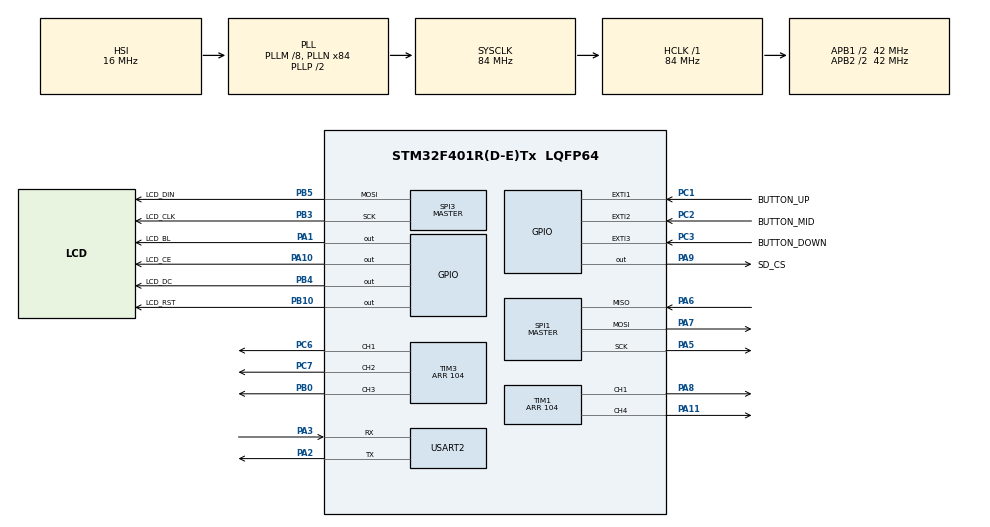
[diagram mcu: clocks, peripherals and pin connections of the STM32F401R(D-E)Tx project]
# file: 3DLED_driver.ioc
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Dma.Request0=TIM1_CH1
Dma.Request1=TIM3_CH1/TRIG
Dma.Request2=TIM1_CH4/TRIG/COM
Dma.Request3=TIM3_CH2
Dma.Request4=TIM3_CH3
Dma.TIM1_CH1.0.Direction=DMA_MEMORY_TO_PERIPH
Dma.TIM1_CH1.0.FIFOMode=DMA_FIFOMODE_DISABLE
Dma.TIM1_CH1.0.Instance=DMA2_Stream1
Dma.TIM1_CH1.0.MemDataAlignment=DMA_MDATAALIGN_HALFWORD
Dma.TIM1_CH1.0.MemInc=DMA_MINC_ENABLE
Dma.TIM1_CH1.0.Mode=DMA_CIRCULAR
Dma.TIM1_CH1.0.PeriphDataAlignment=DMA_PDATAALIGN_HALFWORD
Dma.TIM1_CH1.0.PeriphInc=DMA_PINC_DISABLE
Dma.TIM1_CH1.0.Priority=DMA_PRIORITY_LOW
Dma.TIM1_CH4/TRIG/COM.2.Direction=DMA_MEMORY_TO_PERIPH
Dma.TIM1_CH4/TRIG/COM.2.FIFOMode=DMA_FIFOMODE_DISABLE
Dma.TIM1_CH4/TRIG/COM.2.Instance=DMA2_Stream4
Dma.TIM1_CH4/TRIG/COM.2.MemDataAlignment=DMA_MDATAALIGN_HALFWORD
Dma.TIM1_CH4/TRIG/COM.2.MemInc=DMA_MINC_ENABLE
Dma.TIM1_CH4/TRIG/COM.2.Mode=DMA_CIRCULAR
Dma.TIM1_CH4/TRIG/COM.2.PeriphDataAlignment=DMA_PDATAALIGN_HALFWORD
Dma.TIM1_CH4/TRIG/COM.2.PeriphInc=DMA_PINC_DISABLE
Dma.TIM1_CH4/TRIG/COM.2.Priority=DMA_PRIORITY_LOW
Dma.TIM3_CH1/TRIG.1.Direction=DMA_MEMORY_TO_PERIPH
Dma.TIM3_CH1/TRIG.1.FIFOMode=DMA_FIFOMODE_DISABLE
Dma.TIM3_CH1/TRIG.1.Instance=DMA1_Stream4
Dma.TIM3_CH1/TRIG.1.MemDataAlignment=DMA_MDATAALIGN_HALFWORD
Dma.TIM3_CH1/TRIG.1.MemInc=DMA_MINC_ENABLE
Dma.TIM3_CH1/TRIG.1.Mode=DMA_CIRCULAR
Dma.TIM3_CH1/TRIG.1.PeriphDataAlignment=DMA_PDATAALIGN_HALFWORD
Dma.TIM3_CH1/TRIG.1.PeriphInc=DMA_PINC_DISABLE
Dma.TIM3_CH1/TRIG.1.Priority=DMA_PRIORITY_LOW
Dma.TIM3_CH2.3.Direction=DMA_MEMORY_TO_PERIPH
Dma.TIM3_CH2.3.FIFOMode=DMA_FIFOMODE_DISABLE
Dma.TIM3_CH2.3.Instance=DMA1_Stream5
Dma.TIM3_CH2.3.MemDataAlignment=DMA_MDATAALIGN_HALFWORD
Dma.TIM3_CH2.3.MemInc=DMA_MINC_ENABLE
Dma.TIM3_CH2.3.Mode=DMA_CIRCULAR
Dma.TIM3_CH2.3.PeriphDataAlignment=DMA_PDATAALIGN_HALFWORD
Dma.TIM3_CH2.3.PeriphInc=DMA_PINC_DISABLE
Dma.TIM3_CH2.3.Priority=DMA_PRIORITY_LOW
Dma.TIM3_CH3.4.Direction=DMA_MEMORY_TO_PERIPH
Dma.TIM3_CH3.4.FIFOMode=DMA_FIFOMODE_DISABLE
Dma.TIM3_CH3.4.Instance=DMA1_Stream7
Dma.TIM3_CH3.4.MemDataAlignment=DMA_MDATAALIGN_HALFWORD
Dma.TIM3_CH3.4.MemInc=DMA_MINC_ENABLE
Dma.TIM3_CH3.4.Mode=DMA_CIRCULAR
Dma.TIM3_CH3.4.PeriphDataAlignment=DMA_PDATAALIGN_HALFWORD
Dma.TIM3_CH3.4.PeriphInc=DMA_PINC_DISABLE
Dma.TIM3_CH3.4.Priority=DMA_PRIORITY_LOW
FATFS._USE_LFN=0
Mcu.Family=STM32F4
Mcu.Name=STM32F401R(D-E)Tx
Mcu.Package=LQFP64
NVIC.DMA1_Stream4_IRQn=true\:0\:0\:false\:false\:true\:false\:true\:true
NVIC.DMA1_Stream5_IRQn=true\:0\:0\:false\:false\:true\:false\:true\:true
NVIC.DMA1_Stream7_IRQn=true\:0\:0\:false\:false\:true\:false\:true\:true
NVIC.DMA2_Stream1_IRQn=true\:0\:0\:false\:false\:true\:false\:true\:true
NVIC.DMA2_Stream4_IRQn=true\:0\:0\:false\:false\:true\:false\:true\:true
NVIC.EXTI1_IRQn=true\:0\:0\:false\:false\:true\:true\:true\:true
NVIC.EXTI2_IRQn=true\:0\:0\:false\:false\:true\:true\:true\:true
NVIC.EXTI3_IRQn=true\:0\:0\:false\:false\:true\:true\:true\:true
NVIC.PriorityGroup=NVIC_PRIORITYGROUP_4
PA1.GPIO_Label=LCD_BL
PA1.Signal=GPIO_Output
PA10.GPIO_Label=LCD_CE
PA10.Signal=GPIO_Output
PA11.Signal=S_TIM1_CH4
PA13.Mode=Serial_Wire
PA13.Signal=SYS_JTMS-SWDIO
PA14.Mode=Serial_Wire
PA14.Signal=SYS_JTCK-SWCLK
PA2.Mode=Asynchronous
PA2.Signal=USART2_TX
PA3.Mode=Asynchronous
PA3.Signal=USART2_RX
PA5.Mode=Full_Duplex_Master
PA5.Signal=SPI1_SCK
PA6.Mode=Full_Duplex_Master
PA6.Signal=SPI1_MISO
PA7.Mode=Full_Duplex_Master
PA7.Signal=SPI1_MOSI
PA8.Signal=S_TIM1_CH1
PA9.GPIO_Label=SD_CS
PA9.Signal=GPIO_Output
PB0.Signal=S_TIM3_CH3
PB10.GPIO_Label=LCD_RST
PB10.Signal=GPIO_Output
PB3.GPIO_Label=LCD_CLK
PB3.Mode=TX_Only_Simplex_Unidirect_Master
PB3.Signal=SPI3_SCK
PB4.GPIO_Label=LCD_DC
PB4.Signal=GPIO_Output
PB5.GPIO_Label=LCD_DIN
PB5.Mode=TX_Only_Simplex_Unidirect_Master
PB5.Signal=SPI3_MOSI
PC1.GPIO_Label=BUTTON_UP
PC1.GPIO_PuPd=GPIO_PULLDOWN
PC1.Signal=GPXTI1
PC2.GPIO_Label=BUTTON_MID
PC2.GPIO_PuPd=GPIO_PULLDOWN
PC2.Signal=GPXTI2
PC3.GPIO_Label=BUTTON_DOWN
PC3.GPIO_PuPd=GPIO_PULLDOWN
PC3.Signal=GPXTI3
PC6.Signal=S_TIM3_CH1
PC7.Signal=S_TIM3_CH2
ProjectManager.HeapSize=0x200
ProjectManager.StackSize=0x400
ProjectManager.TargetToolchain=STM32CubeIDE
RCC.48MHZClocksFreq_Value=56000000
RCC.AHBFreq_Value=84000000
RCC.APB1CLKDivider=RCC_HCLK_DIV2
RCC.APB1Freq_Value=42000000
RCC.APB1TimFreq_Value=84000000
RCC.APB2CLKDivider=RCC_HCLK_DIV2
RCC.APB2Freq_Value=42000000
RCC.APB2TimFreq_Value=84000000
RCC.CortexFreq_Value=84000000
RCC.HCLKFreq_Value=84000000
RCC.HSE_VALUE=8000000
RCC.HSI_VALUE=16000000
RCC.LSE_VALUE=32768
RCC.PLLM=8
RCC.PLLN=84
RCC.PLLQ=3
RCC.SYSCLKFreq_VALUE=84000000
RCC.SYSCLKSource=RCC_SYSCLKSOURCE_PLLCLK
RCC.VCOOutputFreq_Value=168000000
SH.S_TIM1_CH1.0=TIM1_CH1,PWM Generation1 CH1
SH.S_TIM1_CH4.0=TIM1_CH4,PWM Generation4 CH4
SH.S_TIM3_CH1.0=TIM3_CH1,PWM Generation1 CH1
SH.S_TIM3_CH2.0=TIM3_CH2,PWM Generation2 CH2
SH.S_TIM3_CH3.0=TIM3_CH3,PWM Generation3 CH3
SPI1.BaudRatePrescaler=SPI_BAUDRATEPRESCALER_256
SPI1.Direction=SPI_DIRECTION_2LINES
SPI1.Mode=SPI_MODE_MASTER
SPI1.VirtualType=VM_MASTER
SPI3.BaudRatePrescaler=SPI_BAUDRATEPRESCALER_64
SPI3.Direction=SPI_DIRECTION_2LINES
SPI3.Mode=SPI_MODE_MASTER
SPI3.VirtualType=VM_MASTER
TIM1.Channel-PWM\ Generation1\ CH1=TIM_CHANNEL_1
TIM1.Channel-PWM\ Generation4\ CH4=TIM_CHANNEL_4
TIM1.Period=104
TIM3.Channel-PWM\ Generation1\ CH1=TIM_CHANNEL_1
TIM3.Channel-PWM\ Generation2\ CH2=TIM_CHANNEL_2
TIM3.Channel-PWM\ Generation3\ CH3=TIM_CHANNEL_3
TIM3.Period=104
USART2.VirtualMode=VM_ASYNC
VP_FATFS_VS_Generic.Mode=User_defined
VP_TIM1_VS_ClockSourceINT.Mode=Internal
VP_TIM3_VS_ClockSourceINT.Mode=Internal
board=custom

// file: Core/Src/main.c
/* USER CODE BEGIN Header */
/**
 ******************************************************************************
 * @file           : main.c
 * @brief          : Main program body
 ******************************************************************************
 * @attention
 *
 * <h2><center>&copy; Copyright (c) 2021 STMicroelectronics.
 * All rights reserved.</center></h2>
 *
 * This software component is licensed by ST under BSD 3-Clause license,
 * the "License"; You may not use this file except in compliance with the
 * License. You may obtain a copy of the License at:
 *                        opensource.org/licenses/BSD-3-Clause
 *
 ******************************************************************************
 */
/* USER CODE END Header */
#include "main.h"
#include "fatfs.h"

/* USER CODE BEGIN Includes */

#include <memory.h>
#include <string.h>
#include <stdarg.h> //for va_list var arg functions

#include "ws2812b.h"
//#include "walking.h"
#include "sd_card.h"
#include "tm_stm32f4_pcd8544.h"

/* USER CODE END Includes */

/* USER CODE BEGIN PTD */
enum BUTTONS {
    BUTTON_NULL, BUTTON_UP, BUTTON_MID, BUTTON_DOWN
};

/* USER CODE END PTD */

SPI_HandleTypeDef hspi1;
SPI_HandleTypeDef hspi3;

TIM_HandleTypeDef htim1;
TIM_HandleTypeDef htim3;
DMA_HandleTypeDef hdma_tim1_ch1;
DMA_HandleTypeDef hdma_tim1_ch4_trig_com;
DMA_HandleTypeDef hdma_tim3_ch1_trig;
DMA_HandleTypeDef hdma_tim3_ch2;
DMA_HandleTypeDef hdma_tim3_ch3;

UART_HandleTypeDef huart2;

void SystemClock_Config(void);
static void MX_GPIO_Init(void);
static void MX_DMA_Init(void);
static void MX_TIM1_Init(void);
static void MX_SPI1_Init(void);
static void MX_USART2_UART_Init(void);
static void MX_SPI3_Init(void);
static void MX_TIM3_Init(void);
/* USER CODE BEGIN PFP */
uint32_t hsl_to_rgb(uint8_t h, uint8_t s, uint8_t l);
void handleMenu(void);

/* USER CODE END PFP */

/* USER CODE BEGIN 0 */

volatile uint8_t button_event = 0;
char buffor_dirs[10][16] = { 0 };
uint8_t number_of_dirs = 0;
uint8_t selected = 0;
uint8_t playState = 0;

Layers Layer0;
Layers Layer1;
Layers Layer2;
Layers Layer3;
Layers Layer4;

/* USER CODE END 0 */

int main(void) {
    /* USER CODE BEGIN 1 */

    // Layers configuration
    Layer0.timer = &htim1;
    Layer0.dma = &hdma_tim1_ch1;
    Layer0.channel = TIM_CHANNEL_1;

    Layer1.timer = &htim1;
    Layer1.dma = &hdma_tim1_ch4_trig_com;
    Layer1.channel = TIM_CHANNEL_4;

    Layer2.timer = &htim3;
    Layer2.dma = &hdma_tim3_ch1_trig;
    Layer2.channel = TIM_CHANNEL_1;

    Layer3.timer = &htim3;
    Layer3.dma = &hdma_tim3_ch2;
    Layer3.channel = TIM_CHANNEL_2;

    Layer4.timer = &htim3;
    Layer4.dma = &hdma_tim3_ch3;
    Layer4.channel = TIM_CHANNEL_3;

    Layers *layers_array[5];
    layers_array[0] = &Layer0;
    layers_array[1] = &Layer1;
    layers_array[2] = &Layer2;
    layers_array[3] = &Layer3;
    layers_array[4] = &Layer4;

    /* USER CODE END 1 */

    /* MCU Configuration--------------------------------------------------------*/

    /* Reset of all peripherals, Initializes the Flash interface and the Systick. */
    HAL_Init();

    /* Configure the system clock */
    SystemClock_Config();

    /* Initialize all configured peripherals */
    MX_GPIO_Init();
    MX_DMA_Init();
    MX_TIM1_Init();
    MX_FATFS_Init();
    MX_SPI1_Init();
    MX_USART2_UART_Init();
    MX_SPI3_Init();
    MX_TIM3_Init();
    /* USER CODE BEGIN 2 */

    // GPIO configuration
    HAL_NVIC_EnableIRQ(EXTI1_IRQn);
    HAL_NVIC_EnableIRQ(EXTI2_IRQn);
    HAL_NVIC_EnableIRQ(EXTI3_IRQn);

    // LCD initialization
    PCD8544_Init(0x24);
    PCD8544_GotoXY(8, 21);
    PCD8544_Puts("3D_LED_CUBE", PCD8544_Pixel_Set, PCD8544_FontSize_5x7);
    PCD8544_Refresh();
    HAL_Delay(2000);

    // SD Card initialization
    uint8_t walk_array[32][256][3] = { 0 };
    ret_status result = STATUS_NULL;
    uint8_t number_of_images = 0;
    uint8_t speed_of_animation = 0;

    result = sd_card_init();
    if (STATUS_OK != result) {
        PCD8544_Clear();
        PCD8544_Puts("Problem with card initialization. Try re-attach SD card and press RESET", PCD8544_Pixel_Set, PCD8544_FontSize_5x7);
        PCD8544_Refresh();
        while (1)
            ;
    }

    char path[256];

    strcpy(path, "0:/");
    myprintf("Starting scan dir\n");
    result = sd_card_scan_file((char*) path, (char*) buffor_dirs,
            &number_of_dirs);
    if (STATUS_OK != result) {
        PCD8544_Clear();
        PCD8544_Puts("Problem with scanning card", PCD8544_Pixel_Set, PCD8544_FontSize_5x7);
        PCD8544_Refresh();
        sd_card_close();
        while (1)
            ;
    }

    while (1) {
        HAL_Delay(500);
        handleMenu();
        if (playState)
            break;
    }
    HAL_NVIC_DisableIRQ(EXTI1_IRQn);
    HAL_NVIC_DisableIRQ(EXTI2_IRQn);
    HAL_NVIC_DisableIRQ(EXTI3_IRQn);

    myprintf("Starting read data\n");
    struct layers_struct layers_config[5];
    result = sd_card_read_data((char*) buffor_dirs[selected],(uint8_t*) walk_array, layers_config, &number_of_images, &speed_of_animation);

    sd_card_close();

    if (STATUS_OK != result) {
        PCD8544_Clear();
        PCD8544_GotoXY(0, 0);
        PCD8544_Puts("Problem with reading data", PCD8544_Pixel_Set, PCD8544_FontSize_5x7);
        PCD8544_Refresh();
        while (1)
            ;
    }
    PCD8544_GotoXY(20, 38);
    PCD8544_Puts("Playing...", PCD8544_Pixel_Set, PCD8544_FontSize_5x7);
    PCD8544_Refresh();

    uint8_t odd = 1U;
    uint8_t index = 0U;
    uint8_t counter = 1U;
    uint8_t number_of_animation = 0U;

    /* USER CODE END 2 */

    /* Infinite loop */
    while (1) {

        /* USER CODE BEGIN 3 */
        for (uint8_t layer_index = 0U; layer_index < 5U; layer_index++) {
            for (uint8_t x = 0U; x < layers_config[layer_index].count; x++) {
                if (layers_config[layer_index].values[x] == number_of_animation)
                {
                    layers_config[layer_index].isSet = 1;
                    counter = 0U;
                    for (uint16_t i = 0U; i < NUM_PIXELS; i++) {
//                        if ( (i % 16U) == 0U ) {
//                            odd ^= 1U;
//                            counter++;
//                        }
//                        if (!odd) {
//                            index = (counter * 16 - 1) - (i % 16);
//                        } else {
//                            index = i;
//                        }
                        if ( (i % 16U) == 0U ) {
                            odd ^= 1U;
                            counter++;
                        }
                        if (!odd) {
                            index = 16*(16-(i%16)) - counter;
                        } else {
                            index = 256-(16*(16-((i+1)%16))+counter);
                        }
                        led_set_RGB(layers_array[layer_index], i,
                                walk_array[number_of_animation][index][0],
                                walk_array[number_of_animation][index][1],
                                walk_array[number_of_animation][index][2]);
                    }
                } else if (layers_config[layer_index].isSet == 0) {
                    led_set_all_RGB(layers_array[layer_index], 100, 0, 0);
                }
            }
            layers_config[layer_index].isSet = 0;
            led_render(layers_array[layer_index]);
            HAL_Delay(10);
        }
        if (++number_of_animation == number_of_images)
            number_of_animation = 0;

        HAL_Delay(speed_of_animation);
    }
    /* USER CODE END 3 */
}

void SystemClock_Config(void) {
    RCC_OscInitTypeDef RCC_OscInitStruct = { 0 };
    RCC_ClkInitTypeDef RCC_ClkInitStruct = { 0 };

    /** Configure the main internal regulator output voltage
     */
    __HAL_RCC_PWR_CLK_ENABLE();
    __HAL_PWR_VOLTAGESCALING_CONFIG(PWR_REGULATOR_VOLTAGE_SCALE2);

    /** Initializes the RCC Oscillators according to the specified parameters
     * in the RCC_OscInitTypeDef structure.
     */
    RCC_OscInitStruct.OscillatorType = RCC_OSCILLATORTYPE_HSI;
    RCC_OscInitStruct.HSIState = RCC_HSI_ON;
    RCC_OscInitStruct.HSICalibrationValue = RCC_HSICALIBRATION_DEFAULT;
    RCC_OscInitStruct.PLL.PLLState = RCC_PLL_ON;
    RCC_OscInitStruct.PLL.PLLSource = RCC_PLLSOURCE_HSI;
    RCC_OscInitStruct.PLL.PLLM = 8;
    RCC_OscInitStruct.PLL.PLLN = 84;
    RCC_OscInitStruct.PLL.PLLP = RCC_PLLP_DIV2;
    RCC_OscInitStruct.PLL.PLLQ = 3;
    if (HAL_RCC_OscConfig(&RCC_OscInitStruct) != HAL_OK) {
        Error_Handler();
    }

    /** Initializes the CPU, AHB and APB buses clocks
     */
    RCC_ClkInitStruct.ClockType = RCC_CLOCKTYPE_HCLK | RCC_CLOCKTYPE_SYSCLK
            | RCC_CLOCKTYPE_PCLK1 | RCC_CLOCKTYPE_PCLK2;
    RCC_ClkInitStruct.SYSCLKSource = RCC_SYSCLKSOURCE_PLLCLK;
    RCC_ClkInitStruct.AHBCLKDivider = RCC_SYSCLK_DIV1;
    RCC_ClkInitStruct.APB1CLKDivider = RCC_HCLK_DIV2;
    RCC_ClkInitStruct.APB2CLKDivider = RCC_HCLK_DIV2;

    if (HAL_RCC_ClockConfig(&RCC_ClkInitStruct, FLASH_LATENCY_2) != HAL_OK) {
        Error_Handler();
    }
}

static void MX_SPI1_Init(void) {

    /* SPI1 parameter configuration*/
    hspi1.Instance = SPI1;
    hspi1.Init.Mode = SPI_MODE_MASTER;
    hspi1.Init.Direction = SPI_DIRECTION_2LINES;
    hspi1.Init.DataSize = SPI_DATASIZE_8BIT;
    hspi1.Init.CLKPolarity = SPI_POLARITY_LOW;
    hspi1.Init.CLKPhase = SPI_PHASE_1EDGE;
    hspi1.Init.NSS = SPI_NSS_SOFT;
    hspi1.Init.BaudRatePrescaler = SPI_BAUDRATEPRESCALER_256;
    hspi1.Init.FirstBit = SPI_FIRSTBIT_MSB;
    hspi1.Init.TIMode = SPI_TIMODE_DISABLE;
    hspi1.Init.CRCCalculation = SPI_CRCCALCULATION_DISABLE;
    hspi1.Init.CRCPolynomial = 10;
    if (HAL_SPI_Init(&hspi1) != HAL_OK) {
        Error_Handler();
    }

}

static void MX_SPI3_Init(void) {

    /* SPI3 parameter configuration*/
    hspi3.Instance = SPI3;
    hspi3.Init.Mode = SPI_MODE_MASTER;
    hspi3.Init.Direction = SPI_DIRECTION_2LINES;
    hspi3.Init.DataSize = SPI_DATASIZE_8BIT;
    hspi3.Init.CLKPolarity = SPI_POLARITY_LOW;
    hspi3.Init.CLKPhase = SPI_PHASE_1EDGE;
    hspi3.Init.NSS = SPI_NSS_SOFT;
    hspi3.Init.BaudRatePrescaler = SPI_BAUDRATEPRESCALER_64;
    hspi3.Init.FirstBit = SPI_FIRSTBIT_MSB;
    hspi3.Init.TIMode = SPI_TIMODE_DISABLE;
    hspi3.Init.CRCCalculation = SPI_CRCCALCULATION_DISABLE;
    hspi3.Init.CRCPolynomial = 10;
    if (HAL_SPI_Init(&hspi3) != HAL_OK) {
        Error_Handler();
    }

}

static void MX_TIM1_Init(void) {

    TIM_ClockConfigTypeDef sClockSourceConfig = { 0 };
    TIM_MasterConfigTypeDef sMasterConfig = { 0 };
    TIM_OC_InitTypeDef sConfigOC = { 0 };
    TIM_BreakDeadTimeConfigTypeDef sBreakDeadTimeConfig = { 0 };

    htim1.Instance = TIM1;
    htim1.Init.Prescaler = 0;
    htim1.Init.CounterMode = TIM_COUNTERMODE_UP;
    htim1.Init.Period = 104;
    htim1.Init.ClockDivision = TIM_CLOCKDIVISION_DIV1;
    htim1.Init.RepetitionCounter = 0;
    htim1.Init.AutoReloadPreload = TIM_AUTORELOAD_PRELOAD_DISABLE;
    if (HAL_TIM_Base_Init(&htim1) != HAL_OK) {
        Error_Handler();
    }
    sClockSourceConfig.ClockSource = TIM_CLOCKSOURCE_INTERNAL;
    if (HAL_TIM_ConfigClockSource(&htim1, &sClockSourceConfig) != HAL_OK) {
        Error_Handler();
    }
    if (HAL_TIM_PWM_Init(&htim1) != HAL_OK) {
        Error_Handler();
    }
    sMasterConfig.MasterOutputTrigger = TIM_TRGO_RESET;
    sMasterConfig.MasterSlaveMode = TIM_MASTERSLAVEMODE_DISABLE;
    if (HAL_TIMEx_MasterConfigSynchronization(&htim1, &sMasterConfig)
            != HAL_OK) {
        Error_Handler();
    }
    sConfigOC.OCMode = TIM_OCMODE_PWM1;
    sConfigOC.Pulse = 0;
    sConfigOC.OCPolarity = TIM_OCPOLARITY_HIGH;
    sConfigOC.OCNPolarity = TIM_OCNPOLARITY_HIGH;
    sConfigOC.OCFastMode = TIM_OCFAST_DISABLE;
    sConfigOC.OCIdleState = TIM_OCIDLESTATE_RESET;
    sConfigOC.OCNIdleState = TIM_OCNIDLESTATE_RESET;
    if (HAL_TIM_PWM_ConfigChannel(&htim1, &sConfigOC, TIM_CHANNEL_1)
            != HAL_OK) {
        Error_Handler();
    }
    if (HAL_TIM_PWM_ConfigChannel(&htim1, &sConfigOC, TIM_CHANNEL_4)
            != HAL_OK) {
        Error_Handler();
    }
    sBreakDeadTimeConfig.OffStateRunMode = TIM_OSSR_DISABLE;
    sBreakDeadTimeConfig.OffStateIDLEMode = TIM_OSSI_DISABLE;
    sBreakDeadTimeConfig.LockLevel = TIM_LOCKLEVEL_OFF;
    sBreakDeadTimeConfig.DeadTime = 0;
    sBreakDeadTimeConfig.BreakState = TIM_BREAK_DISABLE;
    sBreakDeadTimeConfig.BreakPolarity = TIM_BREAKPOLARITY_HIGH;
    sBreakDeadTimeConfig.AutomaticOutput = TIM_AUTOMATICOUTPUT_DISABLE;
    if (HAL_TIMEx_ConfigBreakDeadTime(&htim1, &sBreakDeadTimeConfig)
            != HAL_OK) {
        Error_Handler();
    }
    HAL_TIM_MspPostInit(&htim1);

}

static void MX_TIM3_Init(void) {

    TIM_ClockConfigTypeDef sClockSourceConfig = { 0 };
    TIM_MasterConfigTypeDef sMasterConfig = { 0 };
    TIM_OC_InitTypeDef sConfigOC = { 0 };

    htim3.Instance = TIM3;
    htim3.Init.Prescaler = 0;
    htim3.Init.CounterMode = TIM_COUNTERMODE_UP;
    htim3.Init.Period = 104;
    htim3.Init.ClockDivision = TIM_CLOCKDIVISION_DIV1;
    htim3.Init.AutoReloadPreload = TIM_AUTORELOAD_PRELOAD_DISABLE;
    if (HAL_TIM_Base_Init(&htim3) != HAL_OK) {
        Error_Handler();
    }
    sClockSourceConfig.ClockSource = TIM_CLOCKSOURCE_INTERNAL;
    if (HAL_TIM_ConfigClockSource(&htim3, &sClockSourceConfig) != HAL_OK) {
        Error_Handler();
    }
    if (HAL_TIM_PWM_Init(&htim3) != HAL_OK) {
        Error_Handler();
    }
    sMasterConfig.MasterOutputTrigger = TIM_TRGO_RESET;
    sMasterConfig.MasterSlaveMode = TIM_MASTERSLAVEMODE_DISABLE;
    if (HAL_TIMEx_MasterConfigSynchronization(&htim3, &sMasterConfig)
            != HAL_OK) {
        Error_Handler();
    }
    sConfigOC.OCMode = TIM_OCMODE_PWM1;
    sConfigOC.Pulse = 0;
    sConfigOC.OCPolarity = TIM_OCPOLARITY_HIGH;
    sConfigOC.OCFastMode = TIM_OCFAST_DISABLE;
    if (HAL_TIM_PWM_ConfigChannel(&htim3, &sConfigOC, TIM_CHANNEL_1)
            != HAL_OK) {
        Error_Handler();
    }
    if (HAL_TIM_PWM_ConfigChannel(&htim3, &sConfigOC, TIM_CHANNEL_2)
            != HAL_OK) {
        Error_Handler();
    }
    if (HAL_TIM_PWM_ConfigChannel(&htim3, &sConfigOC, TIM_CHANNEL_3)
            != HAL_OK) {
        Error_Handler();
    }
    HAL_TIM_MspPostInit(&htim3);

}

static void MX_USART2_UART_Init(void) {

    huart2.Instance = USART2;
    huart2.Init.BaudRate = 115200;
    huart2.Init.WordLength = UART_WORDLENGTH_8B;
    huart2.Init.StopBits = UART_STOPBITS_1;
    huart2.Init.Parity = UART_PARITY_NONE;
    huart2.Init.Mode = UART_MODE_TX_RX;
    huart2.Init.HwFlowCtl = UART_HWCONTROL_NONE;
    huart2.Init.OverSampling = UART_OVERSAMPLING_16;
    if (HAL_UART_Init(&huart2) != HAL_OK) {
        Error_Handler();
    }

}

static void MX_DMA_Init(void) {

    /* DMA controller clock enable */
    __HAL_RCC_DMA2_CLK_ENABLE();
    __HAL_RCC_DMA1_CLK_ENABLE();

    /* DMA interrupt init */
    /* DMA1_Stream4_IRQn interrupt configuration */
    HAL_NVIC_SetPriority(DMA1_Stream4_IRQn, 0, 0);
    HAL_NVIC_EnableIRQ(DMA1_Stream4_IRQn);
    /* DMA1_Stream5_IRQn interrupt configuration */
    HAL_NVIC_SetPriority(DMA1_Stream5_IRQn, 0, 0);
    HAL_NVIC_EnableIRQ(DMA1_Stream5_IRQn);
    /* DMA1_Stream7_IRQn interrupt configuration */
    HAL_NVIC_SetPriority(DMA1_Stream7_IRQn, 0, 0);
    HAL_NVIC_EnableIRQ(DMA1_Stream7_IRQn);
    /* DMA2_Stream1_IRQn interrupt configuration */
    HAL_NVIC_SetPriority(DMA2_Stream1_IRQn, 0, 0);
    HAL_NVIC_EnableIRQ(DMA2_Stream1_IRQn);
    /* DMA2_Stream4_IRQn interrupt configuration */
    HAL_NVIC_SetPriority(DMA2_Stream4_IRQn, 0, 0);
    HAL_NVIC_EnableIRQ(DMA2_Stream4_IRQn);

}

static void MX_GPIO_Init(void) {
    GPIO_InitTypeDef GPIO_InitStruct = { 0 };

    /* GPIO Ports Clock Enable */
    __HAL_RCC_GPIOC_CLK_ENABLE();
    __HAL_RCC_GPIOA_CLK_ENABLE();
    __HAL_RCC_GPIOB_CLK_ENABLE();

    /*Configure GPIO pin Output Level */
    HAL_GPIO_WritePin(GPIOA, LCD_BL_Pin | SD_CS_Pin | LCD_CE_Pin,
            GPIO_PIN_RESET);

    /*Configure GPIO pin Output Level */
    HAL_GPIO_WritePin(GPIOB, LCD_RST_Pin | LCD_DC_Pin, GPIO_PIN_RESET);

    /*Configure GPIO pins : BUTTON_UP_Pin BUTTON_MID_Pin BUTTON_DOWN_Pin */
    GPIO_InitStruct.Pin = BUTTON_UP_Pin | BUTTON_MID_Pin | BUTTON_DOWN_Pin;
    GPIO_InitStruct.Mode = GPIO_MODE_IT_RISING;
    GPIO_InitStruct.Pull = GPIO_PULLDOWN;
    HAL_GPIO_Init(GPIOC, &GPIO_InitStruct);

    /*Configure GPIO pins : LCD_BL_Pin SD_CS_Pin LCD_CE_Pin */
    GPIO_InitStruct.Pin = LCD_BL_Pin | SD_CS_Pin | LCD_CE_Pin;
    GPIO_InitStruct.Mode = GPIO_MODE_OUTPUT_PP;
    GPIO_InitStruct.Pull = GPIO_NOPULL;
    GPIO_InitStruct.Speed = GPIO_SPEED_FREQ_LOW;
    HAL_GPIO_Init(GPIOA, &GPIO_InitStruct);

    /*Configure GPIO pins : LCD_RST_Pin LCD_DC_Pin */
    GPIO_InitStruct.Pin = LCD_RST_Pin | LCD_DC_Pin;
    GPIO_InitStruct.Mode = GPIO_MODE_OUTPUT_PP;
    GPIO_InitStruct.Pull = GPIO_NOPULL;
    GPIO_InitStruct.Speed = GPIO_SPEED_FREQ_LOW;
    HAL_GPIO_Init(GPIOB, &GPIO_InitStruct);

    /* EXTI interrupt init*/
    HAL_NVIC_SetPriority(EXTI1_IRQn, 0, 0);
    HAL_NVIC_EnableIRQ(EXTI1_IRQn);

    HAL_NVIC_SetPriority(EXTI2_IRQn, 0, 0);
    HAL_NVIC_EnableIRQ(EXTI2_IRQn);

    HAL_NVIC_SetPriority(EXTI3_IRQn, 0, 0);
    HAL_NVIC_EnableIRQ(EXTI3_IRQn);

}

/* USER CODE BEGIN 4 */

void HAL_GPIO_EXTI_Callback(uint16_t GPIO_Pin) {
    switch (GPIO_Pin) {
    case BUTTON_DOWN_Pin:
        button_event = BUTTON_DOWN;
        break;
    case BUTTON_MID_Pin:
        button_event = BUTTON_MID;
        break;
    case BUTTON_UP_Pin:
        button_event = BUTTON_UP;
        break;
    }

}

void handleMenu(void) {
    switch (button_event) {
    case BUTTON_NULL:
        break;
    case BUTTON_DOWN:
        if ((selected + 1) < number_of_dirs)
            selected++;
        break;
    case BUTTON_MID:
        playState ^= 1;
        break;
    case BUTTON_UP:
        if (0 < selected)
            selected--;
        break;
    default:
        break;
    }

    PCD8544_Clear();

    for (int i = 0; i < number_of_dirs; i++) {
        if (i == selected) {
            PCD8544_DrawFilledRectangle(0, i * 9, 84, i * 9 + 9,
                    PCD8544_Pixel_Set);
            PCD8544_GotoXY(4, i * 9 + 1);
            PCD8544_Puts(&buffor_dirs[i][4], PCD8544_Pixel_Clear,
                    PCD8544_FontSize_5x7);
        } else {
            PCD8544_GotoXY(4, i * 9 + 1);
            PCD8544_Puts(&buffor_dirs[i][4], PCD8544_Pixel_Set,
                    PCD8544_FontSize_5x7);
        }
    }
    PCD8544_Refresh();
}

uint32_t hsl_to_rgb(uint8_t h, uint8_t s, uint8_t l) {
    if (l == 0)
        return 0;

    volatile uint8_t r, g, b, lo, c, x, m;
    volatile uint16_t h1, l1, H;
    l1 = l + 1;
    if (l < 128)
        c = ((l1 << 1) * s) >> 8;
    else
        c = (512 - (l1 << 1)) * s >> 8;

    H = h * 6;              // 0 to 1535 (actually 1530)
    lo = H & 255;           // Low byte  = primary/secondary color mix
    h1 = lo + 1;

    if ((H & 256) == 0)
        x = h1 * c >> 8;          // even sextant, like red to yellow
    else
        x = (256 - h1) * c >> 8;  // odd sextant, like yellow to green

    m = l - (c >> 1);
    switch (H >> 8) {       // High byte = sextant of colorwheel
    case 0:
        r = c;
        g = x;
        b = 0;
        break; // R to Y
    case 1:
        r = x;
        g = c;
        b = 0;
        break; // Y to G
    case 2:
        r = 0;
        g = c;
        b = x;
        break; // G to C
    case 3:
        r = 0;
        g = x;
        b = c;
        break; // C to B
    case 4:
        r = x;
        g = 0;
        b = c;
        break; // B to M
    default:
        r = c;
        g = 0;
        b = x;
        break; // M to R
    }

    return (((uint32_t) r + m) << 16) | (((uint32_t) g + m) << 8)
            | ((uint32_t) b + m);
}

void HAL_TIM_PWM_PulseFinishedHalfCpltCallback(TIM_HandleTypeDef *htim) {

    Layers *layer;

    if (htim == &htim1 && htim->Channel == HAL_TIM_ACTIVE_CHANNEL_1) {
        layer = &Layer0;
    } else if (htim == &htim1 && htim->Channel == HAL_TIM_ACTIVE_CHANNEL_4) {
        layer = &Layer1;
    } else if (htim == &htim3 && htim->Channel == HAL_TIM_ACTIVE_CHANNEL_1) {
        layer = &Layer2;
    } else if (htim == &htim3 && htim->Channel == HAL_TIM_ACTIVE_CHANNEL_2) {
        layer = &Layer3;
    } else if (htim == &htim3 && htim->Channel == HAL_TIM_ACTIVE_CHANNEL_3) {
        layer = &Layer4;
    } else
        return;

    // DMA buffer set from LED(wr_buf_p) to LED(wr_buf_p + 1)
    if (layer->wr_buf_p < NUM_PIXELS) {
        // We're in. Fill the even buffer
        for (uint_fast8_t i = 0; i < 8; ++i) {
            layer->wr_buf[i] =
            PWM_LO << (((layer->rgb_arr[3 * layer->wr_buf_p] << i) & 0x80) > 0);
            layer->wr_buf[i + 8] = PWM_LO<< (((layer->rgb_arr[3 * layer->wr_buf_p + 1] << i) & 0x80)> 0);
            layer->wr_buf[i + 16] = PWM_LO<< (((layer->rgb_arr[3 * layer->wr_buf_p + 2] << i) & 0x80)> 0);
        }
        layer->wr_buf_p++;
    } else if (layer->wr_buf_p < NUM_PIXELS + 2) {
        // Last two transfers are resets.
        //                               WS2812B: 48 * 1.25 us = 60 us == good enough reset
        // First half reset zero fill
        for (uint8_t i = 0; i < WR_BUF_LEN / 2; ++i)
            layer->wr_buf[i] = 0;
        layer->wr_buf_p++;
    }
}

void HAL_TIM_PWM_PulseFinishedCallback(TIM_HandleTypeDef *htim) {

    Layers *layer;

    if (htim == &htim1 && htim->Channel == HAL_TIM_ACTIVE_CHANNEL_1) {
        layer = &Layer0;
    } else if (htim == &htim1 && htim->Channel == HAL_TIM_ACTIVE_CHANNEL_4) {
        layer = &Layer1;
    } else if (htim == &htim3 && htim->Channel == HAL_TIM_ACTIVE_CHANNEL_1) {
        layer = &Layer2;
    } else if (htim == &htim3 && htim->Channel == HAL_TIM_ACTIVE_CHANNEL_2) {
        layer = &Layer3;
    } else if (htim == &htim3 && htim->Channel == HAL_TIM_ACTIVE_CHANNEL_3) {
        layer = &Layer4;
    } else
        return;

    // DMA buffer set from LED(wr_buf_p) to LED(wr_buf_p + 1)
    if (layer->wr_buf_p < NUM_PIXELS) {
        // We're in. Fill the odd buffer
        for (uint_fast8_t i = 0; i < 8; ++i) {
            layer->wr_buf[i + 24] =
            PWM_LO << (((layer->rgb_arr[3 * layer->wr_buf_p] << i) & 0x80) > 0);
            layer->wr_buf[i + 32] = PWM_LO
                    << (((layer->rgb_arr[3 * layer->wr_buf_p + 1] << i) & 0x80)
                            > 0);
            layer->wr_buf[i + 40] = PWM_LO
                    << (((layer->rgb_arr[3 * layer->wr_buf_p + 2] << i) & 0x80)
                            > 0);
        }

        layer->wr_buf_p++;

    } else if (layer->wr_buf_p < NUM_PIXELS + 2) {
        // Second half reset zero fill
        for (uint8_t i = WR_BUF_LEN / 2; i < WR_BUF_LEN; ++i)
            layer->wr_buf[i] = 0;
        ++layer->wr_buf_p;
    } else {
        // We're done. Lean back and until next time!
        layer->wr_buf_p = 0;
        HAL_TIM_PWM_Stop_DMA(layer->timer, layer->channel);
    }
}

/* USER CODE END 4 */

void Error_Handler(void) {
    __disable_irq();
    while (1) {
    }
}
